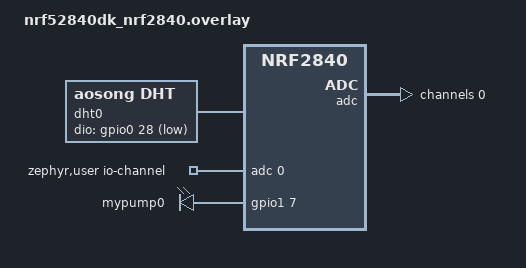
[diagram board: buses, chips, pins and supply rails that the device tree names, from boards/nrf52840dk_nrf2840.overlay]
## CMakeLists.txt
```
#
# Copyright (c) 2018 Nordic Semiconductor
#
# SPDX-License-Identifier: LicenseRef-Nordic-5-Clause
#
cmake_minimum_required(VERSION 3.20.0)

find_package(Zephyr REQUIRED HINTS $ENV{ZEPHYR_BASE})
project(NONE)

# NORDIC SDK APP START
target_sources(app PRIVATE
  src/main.c
  src/my_pws.c
  src/dht_sensor.c
  src/soil_sensor.c
  src/logging_sensor.c
  src/learning_mode.c
)

# NORDIC SDK APP END
zephyr_library_include_directories(.)
```

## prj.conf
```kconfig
#
# Copyright (c) 2018 Nordic Semiconductor
#
# SPDX-License-Identifier: LicenseRef-Nordic-5-Clause
#

# Logger module
CONFIG_LOG=y

# Button and LED library
CONFIG_DK_LIBRARY=y

# Bluetooth LE
CONFIG_BT=y

CONFIG_BT_PERIPHERAL=y
CONFIG_BT_DEVICE_NAME="MY_PWS22"

# Increase stack size for the main thread and System Workqueue
CONFIG_SYSTEM_WORKQUEUE_STACK_SIZE=2048
CONFIG_MAIN_STACK_SIZE=2048

# Temperature sensor
CONFIG_SENSOR=y

# ADC
CONFIG_ADC=y

# NVS settings for writing to flash

CONFIG_FLASH=y                   # Enables flash driver support
CONFIG_FLASH_PAGE_LAYOUT=y       # Lets NVS know flash geometry (page size, etc.)
CONFIG_MPU_ALLOW_FLASH_WRITE=y   # Allows flash writes when MPU is active (needed on nRF)
CONFIG_NVS=y                     # Enables the NVS subsystem
```

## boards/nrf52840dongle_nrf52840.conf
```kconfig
# USB stack and CDC ACM settings
CONFIG_USB_DEVICE_STACK=y
CONFIG_USB_DEVICE_REMOTE_WAKEUP=n
CONFIG_USB_CDC_ACM=y
CONFIG_USB_DEVICE_MANUFACTURER="Nordic Semiconductor ASA"
CONFIG_USB_DEVICE_PRODUCT="nRF52840 Dongle"
CONFIG_USB_DEVICE_VID=0x1915
CONFIG_USB_DEVICE_PID=0x0001
CONFIG_USB_DEVICE_INITIALIZE_AT_BOOT=y
CONFIG_USB_DEVICE_LOG_LEVEL_OFF=y
CONFIG_USB_CDC_ACM_LOG_LEVEL_OFF=y
CONFIG_USB_CDC_ACM_RINGBUF_SIZE=2048

# Console settings
CONFIG_CONSOLE=y
CONFIG_SERIAL=y
CONFIG_UART_CONSOLE=y
CONFIG_UART_INTERRUPT_DRIVEN=y

# Logger settings
CONFIG_LOG=y
CONFIG_LOG_BACKEND_UART=y
CONFIG_LOG_MODE_DEFERRED=y

CONFIG_PARTITION_MANAGER_ENABLED=n


CONFIG_BT_DEVICE_NAME="MY_PWS22"
# increase nvs_storage to grow below the bootloader start
# otherwise the nvs will overlap with the bootloader
CONFIG_PM_PARTITION_SIZE_NVS_STORAGE=0x25000
```

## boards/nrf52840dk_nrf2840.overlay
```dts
/ {
    dht0: dht_0 {
        status = "okay";
        compatible = "aosong,dht";
        dio-gpios = <&gpio0 28 GPIO_ACTIVE_LOW>;
        dht22;
    };

    zephyr,user {
        io-channels = <&adc 0>;
    };

    aliases {
        pump0 = &mypump0;
    };

    pumps {
        compatible = "gpio-leds";
        mypump0: pump_0 {
            gpios = <&gpio1 7 GPIO_ACTIVE_HIGH>;
        };
    };

};

&adc {
    #address-cells = <1>;
    #size-cells = <0>;
    status = "okay";
    channel@0 {
        reg = <0>;
        zephyr,gain = "ADC_GAIN_1_5";
        zephyr,reference = "ADC_REF_INTERNAL";
        zephyr,acquisition-time = <ADC_ACQ_TIME_DEFAULT>;
        zephyr,input-positive = <NRF_SAADC_AIN0>; /* P0.02 for nRF52xx, P0.04 for nRF5340 */
        zephyr,resolution = <12>;
    };
};
```

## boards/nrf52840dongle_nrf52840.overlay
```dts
/*
 * Copyright (c) 2021 Nordic Semiconductor ASA
 *
 * SPDX-License-Identifier: LicenseRef-Nordic-5-Clause
 */
// TODO change pins to pins used by the dongle
/ {
	chosen {
		zephyr,console = &cdc_acm_uart0;
	};

	dht0: dht_0 {
        status = "okay";
        compatible = "aosong,dht";
        dio-gpios = <&gpio0 28 GPIO_ACTIVE_LOW>;
        dht22;
    };

    zephyr,user {
        io-channels = <&adc 0>;
    };

    aliases {
        pump0 = &mypump0;
    };

    pumps {
        compatible = "gpio-leds";
        mypump0: pump_0 {
            gpios = <&gpio0 22 GPIO_ACTIVE_HIGH>;
        };
    };
};

&zephyr_udc0 {
	cdc_acm_uart0: cdc_acm_uart0 {
		compatible = "zephyr,cdc-acm-uart";
	};
};


&adc {
    #address-cells = <1>;
    #size-cells = <0>;
    status = "okay";
    channel@0 {
        reg = <0>;
        zephyr,gain = "ADC_GAIN_1_5";
        zephyr,reference = "ADC_REF_INTERNAL";
        zephyr,acquisition-time = <ADC_ACQ_TIME_DEFAULT>;
        zephyr,input-positive = <NRF_SAADC_AIN0>; /* P0.02 for nRF52xx, P0.04 for nRF5340 */
        zephyr,resolution = <12>;
    };
};

&uart0 {
	compatible = "nordic,nrf-uarte";
	status = "disabled";
	current-speed = <115200>;
	pinctrl-0 = <&uart0_default>;
	pinctrl-1 = <&uart0_sleep>;
	pinctrl-names = "default", "sleep";
};
```

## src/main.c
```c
/*
 * Copyright (c) 2023 Nordic Semiconductor ASA
 *
 * SPDX-License-Identifier: LicenseRef-Nordic-5-Clause
 */

#include <zephyr/kernel.h>
#include <zephyr/logging/log.h>
#include <zephyr/bluetooth/bluetooth.h>
#include <zephyr/bluetooth/gap.h>
#include <zephyr/bluetooth/uuid.h>
#include <zephyr/bluetooth/conn.h>

#include <zephyr/drivers/adc.h>

#include <dk_buttons_and_leds.h>
#include <zephyr/drivers/gpio.h>

// write to flash
#include <zephyr/drivers/flash.h>
#include <zephyr/storage/flash_map.h>
#include <zephyr/fs/nvs.h>

#include "my_pws.h"
#include "dht_sensor.h"
#include "sensor_config.h"
#include "soil_sensor.h"
#include "logging_sensor.h"

static const struct bt_le_adv_param *adv_param = BT_LE_ADV_PARAM(
    (BT_LE_ADV_OPT_CONN |
     BT_LE_ADV_OPT_USE_IDENTITY), /* Connectable advertising and use identity address */
    800,                          /* Min Advertising Interval 500ms (800*0.625ms) */
    801,                          /* Max Advertising Interval 500.625ms (801*0.625ms) */
    NULL);                        /* Set to NULL for undirected advertising */

LOG_MODULE_REGISTER(Plant_sensor, LOG_LEVEL_INF);

#define DEVICE_NAME CONFIG_BT_DEVICE_NAME
#define DEVICE_NAME_LEN (sizeof(DEVICE_NAME) - 1)

#define RUN_STATUS_LED DK_LED1
#define CON_STATUS_LED DK_LED2

#define STACKSIZE 2048
#define PRIORITY 7

#define RUN_LED_BLINK_INTERVAL 1000
#define NOTIFY_INTERVAL 5 * 1000 // dont read too often, to avoid sensor from heating it self up
#define TURN_MOTOR_OFF_INTERVAL 500

// write to flash
static struct nvs_fs fs;

#define NVS_PARTITION storage_partition
#define NVS_PARTITION_DEVICE FIXED_PARTITION_DEVICE(NVS_PARTITION)
#define NVS_PARTITION_OFFSET FIXED_PARTITION_OFFSET(NVS_PARTITION)

#define RBT_CNT_ID 0
uint32_t reboot_counter = 0U;
uint8_t soil_moisture_calibrate_status = 0;
int dry_plant_threshold = 0;
int wet_plant_threshold = 0;
int ideal_plant_threshold = 0;

void init_nvs_counter(struct nvs_fs *fs, uint16_t id, int *data, size_t len, const char *data_name)
{
    int rc = 0;
    rc = nvs_read(fs, id, data, len);
    if (rc > 0)
    { /* item was found, show it */
        printk("Id: %d, %s: %d\n",
               id, data_name, *data);
    }
    else
    { /* item was not found, add it */
        printk("No %s found, adding it at id %d\n",
               data_name, id);
        (void)nvs_write(fs, id, data,
                        len);
    }
}

void init_nvs(CalibrationContext *ctx)
{
    int rc = 0;
    struct flash_pages_info info;

    /* define the nvs file system by settings with:
     *	sector_size equal to the pagesize,
     *	3 sectors
     *	starting at NVS_PARTITION_OFFSET
     */
    fs.flash_device = NVS_PARTITION_DEVICE;
    if (!device_is_ready(fs.flash_device))
    {
        printk("Flash device %s is not ready\n", fs.flash_device->name);
        return;
    }
    fs.offset = NVS_PARTITION_OFFSET;
    rc = flash_get_page_info_by_offs(fs.flash_device, fs.offset, &info);
    if (rc)
    {
        printk("Unable to get page info\n");
        return;
    }
    fs.sector_size = info.size;
    fs.sector_count = 3U;

    rc = nvs_mount(&fs);
    if (rc)
    {
        printk("Flash Init failed\n");
        return;
    }

    /* RBT_CNT_ID is used to store the reboot counter, lets see
     * if we can read it from flash
     */
    rc = nvs_read(&fs, RBT_CNT_ID, &reboot_counter, sizeof(reboot_counter));
    if (rc > 0)
    { /* item was found, show it */
        printk("Id: %d, Reboot_counter: %d\n",
               RBT_CNT_ID, reboot_counter);
    }
    else
    { /* item was not found, add it */
        printk("No Reboot counter found, adding it at id %d\n",
               RBT_CNT_ID);
        (void)nvs_write(&fs, RBT_CNT_ID, &reboot_counter,
                        sizeof(reboot_counter));
    }

    // initialize uninitialized values here..
    // soil_moisture_calibrate_status

    rc = nvs_read(&fs, SOIL_MOI_CAL_ID, &soil_moisture_calibrate_status, sizeof(soil_moisture_calibrate_status));
    if (rc > 0)
    { /* item was found, show it */
        printk("Id: %d, soil cal status: %d\n",
               SOIL_MOI_CAL_ID, soil_moisture_calibrate_status);
    }
    else
    { /* item was not found, add it */
        printk("No soil cal found, adding it at id %d\n",
               SOIL_MOI_CAL_ID);
        (void)nvs_write(&fs, SOIL_MOI_CAL_ID, &soil_moisture_calibrate_status,
                        sizeof(soil_moisture_calibrate_status));
    }

    // thresholds
    init_nvs_counter(&fs, DRY_PLANT_ID, &dry_plant_threshold,
                     sizeof(dry_plant_threshold), "dry plant threshold");
    printk("next one\n");
    init_nvs_counter(&fs, WET_PLANT_ID, &wet_plant_threshold,
                     sizeof(wet_plant_threshold), "wet plant threshold");
    init_nvs_counter(&fs, IDEAL_PLANT_ID, &ideal_plant_threshold,
                     sizeof(ideal_plant_threshold), "ideal plant threshold");

    printk("status of soil cal: %d\n", soil_moisture_calibrate_status);
    // update calibrationcontext
    if (soil_moisture_calibrate_status)
    {
        printk("soil moisture calibrated, turning settings on\n");
        // is already calibrated so this can be set to true immediatly
        ctx->soil_moisture_sensor_enabled = true;
        // start the logging as well
        init_timer();
    }
}

static uint64_t start_time; // Stores connection start timestamp
static uint16_t plant_env_readings[SENSOR_ARRAY_SIZE] = {0};
static bool print_once = true;
static CalibrationContext ctx = {
    .pump_finished = false,
    .pump_state = PUMP_OFF,
    .soil_moisture_ready_to_calibrate = false,
    .soil_moisture_sensor_enabled = false};

static const struct gpio_dt_spec pump = GPIO_DT_SPEC_GET(DT_ALIAS(pump0), gpios);

int smooth_soil_val = 0;
struct peripheral_cmd peripheral_cmds[NUM_OF_CMDS];

bool start_soil_sensor = false;

// static uint32_t app_data_logs[STORED_LOGS];

enum TIME_STAMP_STATUS current_time_stamp = TIME_STAMP_NOT_RECIEVED;

enum CALIBRATION_STATUSES
{
    DRY_FINISH = 1,
    IDEAL_FINISH,
    WAIT_TIME
};

static struct k_work adv_work;
static const struct bt_data ad[] = {
    BT_DATA_BYTES(BT_DATA_FLAGS, (BT_LE_AD_GENERAL | BT_LE_AD_NO_BREDR)),
    BT_DATA(BT_DATA_NAME_COMPLETE, DEVICE_NAME, DEVICE_NAME_LEN),

};

static const struct bt_data sd[] = {
    BT_DATA_BYTES(BT_DATA_UUID128_ALL, BT_UUID_PWS_VAL),
};

static void adv_work_handler(struct k_work *work)
{
    int err = bt_le_adv_start(adv_param, ad, ARRAY_SIZE(ad), sd, ARRAY_SIZE(sd));

    if (err)
    {
        printk("Advertising failed to start (err %d)\n", err);
        return;
    }

    printk("Advertising successfully started\n");
}
static void advertising_start(void)
{
    k_work_submit(&adv_work);
}
static void recycled_cb(void)
{
    printk("Connection object available from previous conn. Disconnect is complete!\n");
    advertising_start();
}

bool simulate_rain_drop_sensor()
{
    // should replace with real sensor at some point
    uint64_t elapsed_ms = k_uptime_get() - start_time;
    if (elapsed_ms >= 20000)
    {
        printk("raindrop detected\n");
        return true;
    }
    return false;
}

void gpio_pump_init(void)
{
    // static const struct gpio_dt_spec pump = GPIO_DT_SPEC_GET(DT_ALIAS(pump0), gpios);

    if (!gpio_is_ready_dt(&pump))
    {
        return;
    }

    gpio_pin_configure_dt(&pump, GPIO_OUTPUT);
    gpio_pin_set_dt(&pump, 0);
}

void init_peripheral_cmds()
{
    for (int i = 0; i < NUM_OF_CMDS; ++i)
    {
        peripheral_cmds[i].enabled = false;
        peripheral_cmds[i].id = (enum PERIPHERAL_CMD_IDS)i;
    }
}

static void app_sensor_command_cb(bool state, uint8_t id)
{
    peripheral_cmds[id].enabled = state;
}

static uint32_t *app_update_logs()
{
    // // unix format -> 2025/08/26 at 12:36:00
    // app_data_logs[0] = 1756211760;
    // // two random values packed in order of LSB
    // app_data_logs[1] = (55 << 16) | 25;
    // TODO: only send new data
    // also send the size of the new data
    return data_logs;
}

static void app_init_time_stamp(int64_t time_stamp)
{
    // set time from recieved time from app
    // should only do so on start up once
    if (current_time_stamp == TIME_STAMP_NOT_RECIEVED)
    {
        init_time_stamp = time_stamp;
        init_uptime = k_uptime_get();
        current_time_stamp = TIME_STAMP_RECIEVED;
        LOG_INF("recieved timestamp");
        int64_t recieved_time = get_unix_timestamp_ms();
        LOG_INF("time stamp = %lld", recieved_time);
    }
    else
    {
        LOG_INF("timestamp already recieved");
    }
}

static void app_erase_logs()
{
    while (1)
    {
        // TODO: move a pointer to the next aviailbe space instead
        // keep the logic of clearing the logs to 0 for debugging purposes?
        if (peripheral_cmds[CLEAR_LOG].enabled)
        {
            for (int i = 0; i < STORED_LOGS; ++i)
            {
                // app_data_logs[i] = 0;
                data_logs[i] = 0;

            }
            peripheral_cmds[CLEAR_LOG].enabled = false;
            // reset array to start
            // set new
            ptr_data_logs = data_logs;
        }
        k_sleep(K_MSEC(100));
    }
}

/* STEP 10 - Declare a varaible app_callbacks of type my_pws_cb and initiate its members to the applications call back functions we developed in steps 8.2 and 9.2. */
static struct my_pws_cb app_callbacks = {
    .sensor_command_cb = app_sensor_command_cb,
    .update_logs_cb = app_update_logs,
    .init_time_stamp_cb = app_init_time_stamp};

void send_data_thread(void *p1)
{
    CalibrationContext *ctx = (CalibrationContext *)p1;
    while (1)
    {
        // TODO: consider to turn TEMPERATURE_HUMIDITY off every time after it has send temp/humidity once
        // the app will resend command to turn on when you go onto the page next time..
        if (peripheral_cmds[TEMPERATURE_HUMIDITY].enabled)
        {
            /* Send notification, the function sends notifications only if a client is subscribed */
            struct air_metrics env_readings = read_temp_humidity();
            // send notification for temp/humidity
            plant_env_readings[0] = env_readings.temp;
            plant_env_readings[1] = env_readings.humidity;

            if (ctx->soil_moisture_sensor_enabled)
            {
                int stable_soil_reading = read_smooth_soil();
                if (stable_soil_reading)
                {
                    plant_env_readings[2] = mv_to_percentage(smooth_soil_val);
                }
            }
            else
            {
                plant_env_readings[2] = -1;
            }

            // maybe add a range where the value doesnt change? the mv measured varies even if water level is not changing
            // plant_env_readings[2] = ctx->soil_moisture_sensor_enabled ? mv_to_percentage(smooth_soil_val) : 0;
            if (ctx->soil_moisture_sensor_enabled)
            {
                LOG_INF("percentage: %d of soil moisture", mv_to_percentage(smooth_soil_val));
            }

            my_pws_send_temperature_notify(plant_env_readings);

            k_sleep(K_MSEC(NOTIFY_INTERVAL));
        }
        else
        {
            k_sleep(K_MSEC(100));
        }
    }
}

// debug test function to verify the pump (pin) works
void test_pump_setup()
{
    while (1)
    {
        static bool pump_test_started = false;
        if (peripheral_cmds[TEST_PUMP].enabled)
        {
            LOG_INF("Starting watering cycle test..");
            gpio_pin_set_dt(&pump, 1);
            start_time = k_uptime_get();
            peripheral_cmds[TEST_PUMP].enabled = false;
            pump_test_started = true;
        }
        else if (pump_test_started)
        {
            int64_t elapsed_ms = k_uptime_get() - start_time;
            // should only be on for 5 sec.
            if (elapsed_ms >= 5000)
            {
                gpio_pin_set_dt(&pump, 0);
                LOG_INF("stop watering test cycle..");
                pump_test_started = false;
            }
        }
        k_sleep(K_MSEC(100));
    }
}

// void start_pump()
// {
//     static bool set_start_time = false;
//     static int64_t start_time_pump;
//     while (1)
//     {
//         if (pump_on)
//         {
//             if (!set_start_time)
//             {
//                 gpio_pin_set_dt(&pump, 1);
//                 start_time_pump = k_uptime_get();
//                 set_start_time = true;
//             }
//             else
//             {
//                 int64_t elapsed_ms = k_uptime_get() - start_time_pump;
//                 // should only be on for 20 sec.
//                 if (elapsed_ms >= 20000)
//                 {
//                     gpio_pin_set_dt(&pump, 0);
//                     LOG_INF("stop watering..");
//                     pump_on = false;
//                     set_start_time = false;
//                 }
//             }
//         }
//         k_sleep(K_MSEC(100));
//     }
// }

void manage_pump(CalibrationContext *ctx)
{
    if (peripheral_cmds[PUMP].enabled)
    {
        LOG_INF("watering..");
        gpio_pin_set_dt(&pump, 1);
        start_time = k_uptime_get();
        ctx->pump_state = PUMP_ON;
        peripheral_cmds[PUMP].enabled = false;
    }
    else if (ctx->pump_state == PUMP_ON)
    {

        int64_t elapsed_ms = k_uptime_get() - start_time;
        // should only be on for 5 sec.
        if (elapsed_ms >= 5000)
        {
            gpio_pin_set_dt(&pump, 0);
            LOG_INF("stop watering..");
            ctx->pump_state = PUMP_OFF;
            ctx->pump_finished = true;
        }
    }
}

void do_calibration_step(CalibrationContext *ctx, struct nvs_fs *fs)
{
    switch (ctx->current_soil_state)
    {
    case DRY:
        calibrate_soil_sensor(ctx, fs);
        break;

    case START_PUMP:
        manage_pump(ctx);
        break;

    case WET:
        calibrate_soil_sensor(ctx, fs);
        break;

    case IDEAL:
        calibrate_soil_sensor(ctx, fs);
        break;
    }
}

void update_state(CalibrationContext *ctx)
{
    switch (ctx->current_soil_state)
    {
    case DRY:
        if (peripheral_cmds[SOIL_CAL].enabled && ctx->soil_moisture_ready_to_calibrate)
        {
            ctx->current_soil_state = START_PUMP;
            LOG_INF("moisture sensor calibrated in dry soil\n");
            my_pws_send_calibration_notify((int8_t)DRY_FINISH);
            LOG_INF("waiting for user to start pump..");
        }
        break;
    case START_PUMP:
        if (ctx->pump_finished)
        {
            ctx->current_soil_state = WET;
            ctx->soil_moisture_ready_to_calibrate = false;
            LOG_INF("pump finished. starting wet calibration.");
        }
        break;
    case WET:
        if (ctx->pump_finished && ctx->soil_moisture_ready_to_calibrate)
        {
            ctx->current_soil_state = IDEAL;
            LOG_INF("moisture sensor calibrated in wet soil\n");
            // moisture sensor should be calibrated
            ctx->pump_finished = false;
            // reset to make it possible to redo calibration
            ctx->soil_moisture_ready_to_calibrate = false;
        }
        break;
    case IDEAL:
        if (ctx->soil_moisture_ready_to_calibrate)
        {
            printk("ideal soil finish\n");
            // resetting
            ctx->current_soil_state = DRY;
            // TODO: set to true to enable reading from sensor at an interval?
            ctx->soil_moisture_ready_to_calibrate = false;
            peripheral_cmds[SOIL_CAL].enabled = false;
            printk("Calibration complete!\n");
            my_pws_send_calibration_notify((int8_t)IDEAL_FINISH);
            // ready to start the timer which logs
            init_timer();
            print_once = true;
            ctx->soil_moisture_sensor_enabled = true;
            // set to true and save in nvs
            soil_moisture_calibrate_status = 1;
            (void)nvs_write(
                &fs, SOIL_MOI_CAL_ID, &soil_moisture_calibrate_status,
                sizeof(soil_moisture_calibrate_status));
        }
        break;
    }
}

// this should be the thread running the main calibration
void main_calibrate_thread(void *p1, void *p2)
{
    CalibrationContext *ctx = (CalibrationContext *)p1;
    struct nvs_fs *fs = (struct nvs_fs *)p2;

    while (1)
    {
        if (peripheral_cmds[SOIL_CAL].enabled)
        {
            if (print_once)
            {
                LOG_INF("starting calibration");
                print_once = false;
                // reset to false, to avoid measuring of soil moisture while
                // calibration is ongoing
                ctx->soil_moisture_sensor_enabled = false;
            }
            do_calibration_step(ctx, fs);
            update_state(ctx);
        }
        k_sleep(K_MSEC(100));
    }
}

void timer_thread()
{
    while (1)
    {
        if (START_TIMER)
        {
            handle_timer();
            START_TIMER = false;
        }
        k_sleep(K_MSEC(100));
    }
}

void timer_logging_thread(CalibrationContext *ctx)
{
    while (1)
    {
        if (START_LOGGING)
        {
            struct plant_log_data current_log = get_sensor_data(ctx);
            LOG_INF("collected log");
            log_data(current_log);
            START_LOGGING = false;
            START_TIMER = true;
        }
        // if pump needs to be turned on, manage_pump will manage it
        manage_pump(ctx);
        k_sleep(K_MSEC(100));
    }
}

static void on_connected(struct bt_conn *conn, uint8_t err)
{
    if (err)
    {
        printk("Connection failed (err %u)\n", err);
        return;
    }

    printk("Connected\n");

    dk_set_led_on(CON_STATUS_LED);
}

static void on_disconnected(struct bt_conn *conn, uint8_t reason)
{
    printk("Disconnected (reason %u)\n", reason);

    dk_set_led_off(CON_STATUS_LED);
}

struct bt_conn_cb connection_callbacks = {
    .connected = on_connected,
    .disconnected = on_disconnected,
    .recycled = recycled_cb,
};

int main(void)
{
    int blink_status = 0;
    int err;

    LOG_INF("Starting Lesson 4 - Exercise 1 \n");
    init_peripheral_cmds();

    err = dk_leds_init();
    if (err)
    {
        LOG_ERR("LEDs init failed (err %d)\n", err);
        return -1;
    }

    err = bt_enable(NULL);
    if (err)
    {
        LOG_ERR("Bluetooth init failed (err %d)\n", err);
        return -1;
    }
    bt_conn_cb_register(&connection_callbacks);

    /* STEP 11 - Pass your application callback functions stored in app_callbacks to the MY PWS service */
    err = my_pws_init(&app_callbacks);
    if (err)
    {
        printk("Failed to init LBS (err:%d)\n", err);
        return -1;
    }
    LOG_INF("Bluetooth initialized\n");
    k_work_init(&adv_work, adv_work_handler);
    advertising_start();

    initialize_adc();
    gpio_pump_init();
    // counter write to flash
    init_nvs(&ctx);
    reboot_counter++;
    (void)nvs_write(
        &fs, RBT_CNT_ID, &reboot_counter,
        sizeof(reboot_counter));

    for (;;)
    {

        dk_set_led(RUN_STATUS_LED, (++blink_status) % 2);
        k_sleep(K_MSEC(RUN_LED_BLINK_INTERVAL));
    }
}


K_THREAD_DEFINE(send_data_thread_id, STACKSIZE, send_data_thread, &ctx, NULL,
                NULL, 8, 0, 0);

K_THREAD_DEFINE(send_data_thread_id1, STACKSIZE, main_calibrate_thread, &ctx, &fs,
                NULL, PRIORITY, 0, 0);

K_THREAD_DEFINE(send_data_thread_id2, STACKSIZE, test_pump_setup, NULL, NULL,
                NULL, 6, 0, 0);

K_THREAD_DEFINE(send_data_thread_id3, STACKSIZE, timer_thread, NULL, NULL,
                NULL, 6, 0, 0);

K_THREAD_DEFINE(send_data_thread_id4, STACKSIZE, app_erase_logs, NULL, NULL,
                NULL, PRIORITY, 0, 0);

K_THREAD_DEFINE(send_data_thread_id5, STACKSIZE, timer_logging_thread, &ctx, NULL,
                NULL, 6, 0, 0);
```

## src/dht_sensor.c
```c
#include <stdio.h>
#include <zephyr/kernel.h>
#include <zephyr/drivers/gpio.h>
#include <zephyr/device.h>
#include <zephyr/drivers/sensor.h>

#include "dht_sensor.h"


const struct device *dht = DEVICE_DT_GET(DT_NODELABEL(dht0));

struct air_metrics read_temp_humidity()
{
    struct sensor_value temp, humidity;
    sensor_sample_fetch(dht);
    sensor_channel_get(dht, SENSOR_CHAN_AMBIENT_TEMP, &temp);
    sensor_channel_get(dht, SENSOR_CHAN_HUMIDITY, &humidity);
    // combine int and decimal value
    uint16_t temp_encoded = (temp.val1 * 10) + (temp.val2 / 100000);
    uint16_t humidity_encoded = (humidity.val1 * 10) + (humidity.val2 / 100000);
    struct air_metrics ret = {.temp = temp_encoded, .humidity = humidity_encoded};

    return ret;
}
```

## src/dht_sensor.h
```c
#ifndef DHT_SENSOR
#define DHT_SENSOR

#include <stdio.h>

struct air_metrics
{
    uint16_t temp;
    uint16_t humidity;
};

struct air_metrics read_temp_humidity();


#endif /* DHT_SENSOR */
```

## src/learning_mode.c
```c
#include <zephyr/kernel.h>
#include "learning_mode.h"
#include "dht_sensor.h"
#include "soil_sensor.h"
// create a learning phase for each plant
// should eventually give individual watering recommendations and send suggestions to the app
// 1. collect data - moisture, timestamp, moisture before and after watering 
// 2. collect 7 days worth of data - learning profile
// 3. based on learning phase calculate drying speed how fast does moisture drop
// 4. adjust timer to check if plant should be watered based on predicted moisture
// 5. extra: maybe it should make a new learning provfile each month, so it can base new recommendations
//           even when seasons change
#define WAIT_TIME_MIN K_MINUTES(15)
#define LOG_PERIOD_MIN_DEFAULT 120
#define LOG_PERIOD_MIN_LEARN 60
#define DATA_COLLECTION_SIZE 24 * 7

int current_log_period;

// dynamic value, based on learnings..
int log_period_predict = 0;
// learning data collection
// save in nvs - dont want to start over if disconnected
learning_data weekly_data_collection[DATA_COLLECTION_SIZE] = {0};
// pointers for easy access to data
learning_data *weekly_ptr = weekly_data_collection;
learning_data *weekly_end_ptr = weekly_data_collection + DATA_COLLECTION_SIZE;

learning_mode mode;

enum time_of_day get_time_of_day(int hour_of_day)
{
    return ((hour_of_day - 6 + 24) % 24) / 6;
}


void phase_init()
{
    mode.phase = LEARN;
    mode.log_period = LOG_PERIOD_MIN_LEARN;
}

void log_period_init(learning_mode current_mode)
{
    current_log_period = current_mode.log_period;
}

uint32_t timestamp_ms_to_hour_of_day (uint32_t time_stamp)
{
    time_stamp = time_stamp / 1000;
    uint32_t seconds_in_day = time_stamp % 86400;
    return seconds_in_day / 3600;
}

int get_drying_speed(int moisture_previous, int moisture_current, int hours_passed)
{
    return (moisture_previous - moisture_current) / hours_passed;
}

learning_profile *get_learning_profile()
{
    learning_profile monthly_profile[4] = {0};
    int count[PERIOD_COUNTS] = {0};

    for (int i = 0; i<DATA_COLLECTION_SIZE; ++i)
    {
        enum time_of_day period = get_time_of_day(weekly_data_collection[i].hour_of_day);
        int drying_speed;
        if (i == 0)
        {
            drying_speed = 0;
        }
        else
        {
            drying_speed = get_drying_speed(weekly_data_collection[i-1].moisture_before, 
            weekly_data_collection[i].moisture_before, current_log_period);
        }
        
        monthly_profile[period].avg_drying_speed += drying_speed;
        monthly_profile[period].avg_temp += weekly_data_collection[i].temp;
        count[period] += 1;

    }

    for (int p = 0; p < PERIOD_COUNTS; ++p)
    {
        if (count[p] > 0)
        {
            monthly_profile[p].avg_drying_speed /= count[p];
            monthly_profile[p].avg_temp /= count[p];
        }
        
    }

    return monthly_profile;
}

int predict_next_watering(int desired_moisture_per, int avg_drying_speed, int current_moisture)
{
    int moisture_drop = current_moisture - desired_moisture_per;
    if (moisture_drop <= 0)
    {
        return 0;
    }
    return moisture_drop / avg_drying_speed;
}

int predict_next_time_slot_watering(int current_moisture, int desired_moisture, int current_hour, learning_profile *monthly_profile)
{
    enum time_of_day current_time_slot = get_time_of_day(current_hour);
    // if current moisture is already below desired moisture it should just water immedaitly...
    int needed_moisture_drop = current_moisture - desired_moisture;
    printf("needed moisture drop: %d\n", needed_moisture_drop);
    int moisture_drop = 0;
    int current_set_hour = current_hour;
    int duration;
    int count_hours = 0;
    duration = ((current_time_slot * 6 + 6) % 24) + 6 - current_set_hour ? ((current_time_slot * 6 + 6) % 24) + 6 - current_set_hour : 6;
    for (int p = current_time_slot; p < PERIOD_COUNTS; )
    {

        moisture_drop += (monthly_profile[p].avg_drying_speed * duration);
        
        // first loop not * 6 but 6-current hours
        if ((moisture_drop) >= needed_moisture_drop)
        {
            
            printf("current timeslot = %d\n", p);
            // moisture will drop within the current timeslot
            // return the hours till next drop here
            moisture_drop -= (monthly_profile[p].avg_drying_speed * duration);
            // printf("calculated moisture drop after last subtraction: %d\n", moisture_drop);
            // get the amount of hours in the current timeslot till desired moisture drop is reached
            // moisture_drop is already a certain percentage; moisture_drop = 20%, desired = 30%,
            // then in the current timeslot we need to figure out how many hours till the moisture reached 10%
            int drop = needed_moisture_drop - moisture_drop;
            int hours_till_drop = drop / monthly_profile[p].avg_drying_speed;
            // hours_till_drop is the hours in the current zone. needs to get the total amount of hours.
            count_hours += hours_till_drop;
            printf("next watering will happen in %d hours.\n", count_hours);
            return hours_till_drop;

        }
        count_hours += duration;
        p = ((p+1) % 4);
        duration = 6;

    }

}



void learning_time()
{
    if (weekly_ptr < weekly_end_ptr)
    {
        weekly_ptr->time_stamp = (uint32_t)(get_unix_timestamp_ms() / 1000);
        weekly_ptr->hour_of_day = timestamp_ms_to_hour_of_day(weekly_ptr->time_stamp);
        struct air_metrics env_readings = read_temp_humidity();
        weekly_ptr->temp = env_readings.temp;
        int stable_reading;

        int i;
        for (i = 0; i < 100; i++)
        {
            stable_reading = read_smooth_soil();
            if (stable_reading)
            {
                stable_reading = 0;
                break;
            }
        }
        weekly_ptr->moisture_before = mv_to_percentage(smooth_soil_val);
        k_sleep(WAIT_TIME_MIN);
        for (i = 0; i < 100; i++)
        {
            stable_reading = read_smooth_soil();
            if (stable_reading)
            {
                break;
            }
        }
        weekly_ptr->moisture_after = mv_to_percentage(smooth_soil_val);
        weekly_ptr++;

    }
    else
    {
        // learning time is now over, time to apply learnings
        mode.phase = APPLY;
        
    }
}
```

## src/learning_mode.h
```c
#ifndef LEARNING_MODE
#define LEARNING_MODE

#include <zephyr/kernel.h>

typedef struct
{
    int moisture_before; // before watering
    int moisture_after;  // after watering - measure 15 min. after
    uint32_t time_stamp;
    int hour_of_day; // maybe not needed?
    // int day_of_week; // maybe not needed?
    uint16_t temp;
} learning_data;

enum time_of_day
{
    MORNING,   // 06:00 - 12:00
    AFTERNOON, // 12:00 - 18:00
    EVENING,   // 18:00 - 00:00
    NIGHT,     // 00:00 - 06:00
    PERIOD_COUNTS
};

typedef struct
{
    int avg_drying_speed;
    enum time_of_day time_period;
    uint16_t avg_temp;

} learning_profile;

enum learning_phases
{
    LEARN,
    APPLY
};

typedef struct
{
    enum learning_phases phase;
    int log_period;
} learning_mode;

void phase_init();
void log_period_init(learning_mode current_mode);
uint32_t timestamp_ms_to_hour_of_day(uint32_t time_stamp);
int get_drying_speed(int moisture_previous, int moisture_current, int hours_passed);
learning_profile *get_learning_profile();
int predict_next_watering(int desired_moisture_per, int avg_drying_speed, int current_moisture);
void learning_time();
enum time_of_day get_time_of_day(int hour_of_day);
int predict_next_time_slot_watering(int current_moisture, int desired_moisture, int current_hour,
                                    learning_profile *monthly_profile);

#endif /* LEARNING_MODE */
```

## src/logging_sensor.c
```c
#include <zephyr/kernel.h>
#include <zephyr/drivers/adc.h>
#include <zephyr/logging/log.h>

#include "sensor_config.h"
#include "logging_sensor.h"
#include "soil_sensor.h"

LOG_MODULE_DECLARE(Plant_sensor);

#define LOG_PERIOD_MIN 120    // log every 2 hours
#define TEST_LOG_PERIOD_MIN 1 // test logging every 1 min

int64_t init_time_stamp = 0;
int64_t init_uptime = 0;
bool pump_on = false;
bool test_pump = true;
uint32_t data_logs[STORED_LOGS] = {0};
uint32_t *ptr_data_logs = data_logs;
static uint32_t *ptr_end_data_logs = data_logs + STORED_LOGS;
int current_log_size = 0;
bool START_LOGGING = false;
// timer
bool START_TIMER = false;
// send 1. date, 2. water_used, 3. temperature, 4. soil moisture (own level system?)
// evaluate if pump should turn on based on this info.

// for now water_used will have to be estimated, as i dont have a flow sensor yet.
// also dont have a sensor to sense water at bottom of pot yet, so will only turn pump on for a set amount of time.

struct plant_log_data get_sensor_data(CalibrationContext *ctx)
{

    // get temp and humidity
    struct air_metrics env_readings = read_temp_humidity();
    // get up to date soil val
    int stable_reading;

    int i;
    for (i = 0; i < 100; i++)
    {
        stable_reading = read_smooth_soil();
        if (stable_reading)
        {
            break;
        }
    }
    LOG_INF("Stable reading achieved at loop %d", i);

    int moisture_level = mv_to_percentage(smooth_soil_val);
    int water_used = 0;
    // TODO: it takes a while for the sensor to register the moisture
    // but this should not be a problem with a logging every 2 hours..
    // but the data readings might not have been stabilized yet.. smooth_soil_val is just the latest reading.
    if (moisture_level < 30) // if below 30%
    {
        LOG_INF("turn pump on");
        peripheral_cmds[PUMP].enabled = true;
        water_used = 10; // 10 ml
        // TODO: might be interesting to send this info to the app so I know at what time it went below 30
    }
    // TODO: unix time is converted into seconds here. need to consider if it might be better to send as ms?
    return (struct plant_log_data){.time_stamp = (uint32_t)(get_unix_timestamp_ms() / 1000),
                                   .env_readings = env_readings,
                                   .soil_moisture_level = moisture_level,
                                   .water_used = water_used};
}

void log_data(struct plant_log_data log)
{
    // log data
    if (ptr_data_logs < ptr_end_data_logs)
    {

        *ptr_data_logs = log.time_stamp;
        ptr_data_logs++;
        *ptr_data_logs = (log.env_readings.temp << 16) | log.water_used;
        ptr_data_logs++;
    }
}

int64_t get_unix_timestamp_ms()
{

    int64_t current_uptime = k_uptime_get() - init_uptime;
    return init_time_stamp + current_uptime;
}

void my_timer_handler(struct k_timer *dummy)
{
    // stop the timer thread
    START_TIMER = false;
    // start the logging thread
    START_LOGGING = true;
}

K_TIMER_DEFINE(my_timer, my_timer_handler, NULL);
void init_timer()
{
    LOG_INF("Starting first log");
    k_timer_start(&my_timer, K_MINUTES(LOG_PERIOD_MIN), K_MINUTES(0));
    START_TIMER = false;
}

void handle_timer()
{
    LOG_INF("Restarting timer.");
    k_timer_start(&my_timer, K_MINUTES(LOG_PERIOD_MIN), K_MINUTES(0));
}
```

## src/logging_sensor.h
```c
#ifndef LOGGING_SENSOR
#define LOGGING_SENSOR

#include "dht_sensor.h"

extern int64_t init_time_stamp;
extern int64_t init_uptime;
extern bool pump_on;
#define STORED_LOGS 672 // 12 logs per day * 4 * 7 = 1 month, now to hold date + (temp + water) = 2
// so 2 * 12 * 4 * 7
extern uint32_t *ptr_data_logs;
extern int current_log_size;

struct plant_log_data
{
    uint32_t time_stamp;
    int water_used;
    struct air_metrics env_readings;
    int soil_moisture_level;
};

extern uint32_t data_logs[STORED_LOGS];

int64_t get_unix_timestamp_ms();
void init_timer();
void handle_timer();
struct plant_log_data get_sensor_data(CalibrationContext *ctx);
void log_data(struct plant_log_data log);
#endif /* LOGGING_SENSOR */
```

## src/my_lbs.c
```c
/*
 * Copyright (c) 2018 Nordic Semiconductor ASA
 *
 * SPDX-License-Identifier: LicenseRef-Nordic-5-Clause
 */

/** @file
 *  @brief LED Button Service (LBS) sample
 */

#include <zephyr/types.h>
#include <stddef.h>
#include <string.h>
#include <errno.h>
#include <zephyr/sys/printk.h>
#include <zephyr/sys/byteorder.h>
#include <zephyr/kernel.h>

#include <zephyr/bluetooth/bluetooth.h>
#include <zephyr/bluetooth/hci.h>
#include <zephyr/bluetooth/conn.h>
#include <zephyr/bluetooth/uuid.h>
#include <zephyr/bluetooth/gatt.h>

#include "my_pws.h"

#include <zephyr/logging/log.h>

LOG_MODULE_DECLARE(Lesson4_Exercise1);

static bool button_state;
static struct my_pws_cb pws_cb;


/* STEP 5 - Implement the read callback function of the Button characteristic */
static ssize_t read_temperature(struct bt_conn *conn, const struct bt_gatt_attr *attr, void *buf,
			   uint16_t len, uint16_t offset)
{
	// get a pointer to button_state which is passed in the BT_GATT_CHARACTERISTIC() and stored in attr->user_data
	const char *value = attr->user_data;

	LOG_DBG("Attribute read, handle: %u, conn: %p", attr->handle, (void *)conn);

	if (pws_cb.temperature_cb) {
		// Call the application callback function to update the get the current value of the button
		button_state = pws_cb.button_cb();
		return bt_gatt_attr_read(conn, attr, buf, len, offset, value, sizeof(*value));
	}

	return 0;
}

/* LED Button Service Declaration */
/* STEP 2 - Create and add the MY PWS service to the Bluetooth LE stack */
BT_GATT_SERVICE_DEFINE(my_pws_svc, BT_GATT_PRIMARY_SERVICE(BT_UUID_PWS),
		       /* STEP 3 - Create and add the Temperature characteristic */
		       BT_GATT_CHARACTERISTIC(BT_UUID_PWS_TEMPERATURE, BT_GATT_CHRC_READ,
					      BT_GATT_PERM_READ, read_temperature, NULL, &temperature_state),
		       /* STEP 4 - Create and add the Pump characteristic. */
		       BT_GATT_CHARACTERISTIC(BT_UUID_PWS_PUMP, BT_GATT_CHRC_READ,
					      BT_GATT_PERM_READ, NULL, read_pump, &pump_state),

);
/* A function to register application callbacks for the LED and Button characteristics  */
int my_lbs_init(struct my_lbs_cb *callbacks)
{
	if (callbacks) {
		lbs_cb.led_cb = callbacks->led_cb;
		lbs_cb.button_cb = callbacks->button_cb;
	}

	return 0;
}
```

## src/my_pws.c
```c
/** @file
 *  @brief Plant Weather Service (PWS)
 */

#include <zephyr/types.h>
#include <stddef.h>
#include <string.h>
#include <errno.h>
#include <zephyr/sys/printk.h>
#include <zephyr/sys/byteorder.h>
#include <zephyr/kernel.h>

#include <zephyr/bluetooth/bluetooth.h>
#include <zephyr/bluetooth/hci.h>
#include <zephyr/bluetooth/conn.h>
#include <zephyr/bluetooth/uuid.h>
#include <zephyr/bluetooth/gatt.h>

#include "my_pws.h"
#include "sensor_config.h"
#include "logging_sensor.h"

#include <zephyr/logging/log.h>

LOG_MODULE_DECLARE(Lesson4_Exercise1);
// LOG_MODULE_DECLARE(Plant_sensor);

#define PUMP_ON_ARRAY_SIZE 5
// static bool notify_mysensor_enabled;
static bool notify_temperature_enabled;
static bool notify_calibration_enabled;

static uint32_t pumping_on_arr[PUMP_ON_ARRAY_SIZE];
static struct my_pws_cb pws_cb;
static uint32_t pws_data_logs[STORED_LOGS];

// TODO: i need to have a write handler for my timestamp value coming from the app on start up

static void mylbsbc_ccc_mysensor_cfg_changed(const struct bt_gatt_attr *attr,
											 uint16_t value)
{
	notify_temperature_enabled = (value == BT_GATT_CCC_NOTIFY); // and gives humidity..and also currently sending the soil moisture smooth data..
}

static void mylbsbc_ccc_calibration_cfg_changed(const struct bt_gatt_attr *attr,
											 uint16_t value)
{
	notify_calibration_enabled = (value == BT_GATT_CCC_NOTIFY);
}

// TODO: remove, but also update the attrs numbering otherwise will not work anymore
static ssize_t read_pump(struct bt_conn *conn, const struct bt_gatt_attr *attr, void *buf,
						 uint16_t len, uint16_t offset)
{
	// get a pointer to pump_state which is passed in the BT_GATT_CHARACTERISTIC() and stored in attr->user_data
	const uint32_t *value = (const uint32_t *)attr->user_data;

	LOG_DBG("Attribute read, handle: %u, conn: %p", attr->handle, (void *)conn);

	if (pws_cb.pump_cb)
	{
		// Call the application callback function to update the get the current value of the pump
		const uint32_t *pump_values = pws_cb.pump_cb();
		// Copy values if needed:
		memcpy(pumping_on_arr, pump_values, sizeof(pumping_on_arr));
		return bt_gatt_attr_read(conn, attr, buf, len, offset, value, sizeof(pumping_on_arr));
	}

	return 0;
}

static ssize_t read_log(struct bt_conn *conn, const struct bt_gatt_attr *attr, void *buf,
						 uint16_t len, uint16_t offset)
{
	// get a pointer to pump_state which is passed in the BT_GATT_CHARACTERISTIC() and stored in attr->user_data
	const uint32_t *value = (const uint32_t *)attr->user_data;

	LOG_DBG("Attribute read, handle: %u, conn: %p", attr->handle, (void *)conn);

	if (pws_cb.update_logs_cb)
	{
		// Call the application callback function to update the get the current value of the pump
		const uint32_t *log_values = pws_cb.update_logs_cb();
		memcpy(pws_data_logs, log_values, sizeof(pws_data_logs));
		// TODO: set size of to only be the new data i want to send and the log_values should 
		// naturally be the start of the array where the new values are defined
		return bt_gatt_attr_read(conn, attr, buf, len, offset, value, sizeof(pws_data_logs));
	}

	return 0;
}


static ssize_t write_command(struct bt_conn *conn,
							 const struct bt_gatt_attr *attr,
							 const void *buf,
							 uint16_t len, uint16_t offset, uint8_t flags)
{
	if (len != 1U)
	{
		LOG_DBG("Write command: Incorrect data length");
		return BT_GATT_ERR(BT_ATT_ERR_INVALID_ATTRIBUTE_LEN);
	}

	if (offset != 0)
	{
		LOG_DBG("Write command: Incorrect data offset");
		return BT_GATT_ERR(BT_ATT_ERR_INVALID_OFFSET);
	}

	if (pws_cb.sensor_command_cb)
	{
		// Read the received value
		uint8_t val = *((uint8_t *)buf);

		uint8_t on_off = (val >> 7) & 1; // on -> 1, off -> 0
		uint8_t id = val & 0x7F;		 // last 7 bits

		if (id < NUM_OF_CMDS && (on_off == 0x00 || on_off == 0x01))
		{
			// Call the application callback function to update the command state
			pws_cb.sensor_command_cb((bool)on_off, id);
		}
		else
		{
			LOG_DBG("Write command: Incorrect value");
			return BT_GATT_ERR(BT_ATT_ERR_VALUE_NOT_ALLOWED);
		}

		return len;
	}
	return 0;
}

static ssize_t write_timestamp(struct bt_conn *conn,
							 const struct bt_gatt_attr *attr,
							 const void *buf,
							 uint16_t len, uint16_t offset, uint8_t flags)
{
	// if (len != 1U)
	// {
	// 	LOG_DBG("Write command: Incorrect data length");
	// 	return BT_GATT_ERR(BT_ATT_ERR_INVALID_ATTRIBUTE_LEN);
	// }

	if (offset != 0)
	{
		LOG_DBG("Write command: Incorrect data offset");
		return BT_GATT_ERR(BT_ATT_ERR_INVALID_OFFSET);
	}

	if (pws_cb.init_time_stamp_cb)
	{
		// Read the received value
		// int64_t val = *((int64_t *)buf);
		int64_t val = (int64_t)sys_get_le64(buf);
		// update initial time stamp
		pws_cb.init_time_stamp_cb(val);

		return len;
	}

	return 0;
}

/* Plant Weather Service Declaration */
/* STEP 2 - Create and add the MY PWS service to the Bluetooth LE stack */
BT_GATT_SERVICE_DEFINE(my_pws_svc, BT_GATT_PRIMARY_SERVICE(BT_UUID_PWS),

					   /* STEP 4 - Create and add the Pump characteristic. */
					   BT_GATT_CHARACTERISTIC(BT_UUID_PWS_PUMP, BT_GATT_CHRC_READ,
											  BT_GATT_PERM_READ, read_pump, NULL, pumping_on_arr),
					   // temperature characteristic (also contains the humidity) TODO: consider renaming
					   BT_GATT_CHARACTERISTIC(BT_UUID_PWS_TEMPERATURE,
											  BT_GATT_CHRC_NOTIFY,
											  BT_GATT_PERM_NONE, NULL, NULL,
											  NULL),

					   BT_GATT_CCC(mylbsbc_ccc_mysensor_cfg_changed,
								   BT_GATT_PERM_READ | BT_GATT_PERM_WRITE),

					   BT_GATT_CHARACTERISTIC(BT_UUID_PWS_SENSOR_COMMAND,
											  BT_GATT_CHRC_WRITE, BT_GATT_PERM_WRITE, NULL, write_command, NULL),
					   // notify
					   BT_GATT_CHARACTERISTIC(BT_UUID_PWS_CALIBRATION,
											  BT_GATT_CHRC_NOTIFY,
											  BT_GATT_PERM_NONE,
											  NULL, NULL, NULL),

					   BT_GATT_CCC(mylbsbc_ccc_calibration_cfg_changed,
								   BT_GATT_PERM_READ | BT_GATT_PERM_WRITE),

						// 
						BT_GATT_CHARACTERISTIC(BT_UUID_PWS_LOG, BT_GATT_CHRC_READ,
											  BT_GATT_PERM_READ, read_log, NULL, pws_data_logs),
						// time stamp write handler
						BT_GATT_CHARACTERISTIC(BT_UUID_PWS_TIMESTAMP,
											  BT_GATT_CHRC_WRITE, BT_GATT_PERM_WRITE, NULL, write_timestamp, NULL)

);
/* A function to register application callbacks for the Pump and Temperature characteristics  */
int my_pws_init(struct my_pws_cb *callbacks)
{
	if (callbacks)
	{
		pws_cb.pump_cb = callbacks->pump_cb;
		pws_cb.sensor_command_cb = callbacks->sensor_command_cb;
		pws_cb.update_logs_cb = callbacks->update_logs_cb;
		pws_cb.init_time_stamp_cb = callbacks->init_time_stamp_cb;
	}

	return 0;
}

int my_pws_send_temperature_notify(uint16_t *sensor_value)
{
	if (!notify_temperature_enabled)
	{
		return -EACCES;
	}

	return bt_gatt_notify(NULL, &my_pws_svc.attrs[4],
						  sensor_value,
						  SENSOR_ARRAY_SIZE * sizeof(uint16_t));
}

int my_pws_send_calibration_notify(int8_t calib_value)
{
	if (!notify_calibration_enabled)
	{
		return -EACCES;
	}

	return bt_gatt_notify(NULL, &my_pws_svc.attrs[8],
						  &calib_value,
						  sizeof(calib_value));
}
```

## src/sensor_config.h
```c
#ifndef SENSOR_CONFIG_H
#define SENSOR_CONFIG_H

#define SENSOR_ARRAY_SIZE 3

// nvs
#define SOIL_MOI_CAL_ID 1
extern bool START_TIMER;
extern bool START_LOGGING;
// timer thread data
// extern struct k_sem data_ready_sem;
// extern struct k_sem start_logging_sem;

// extern bool timer_going_off;
// extern int timer_read_soil;
// extern bool soil_moisture_calibrate_status;
// // thresholds
#define DRY_PLANT_ID 2
#define WET_PLANT_ID 3
#define IDEAL_PLANT_ID 4
extern int dry_plant_threshold;
extern int wet_plant_threshold;
extern int ideal_plant_threshold;

enum PERIPHERAL_CMD_IDS
{
    TEMPERATURE_HUMIDITY,
    LIGHT,
    SOIL,
    PUMP,
    SOIL_CAL,
    CLEAR_LOG,
    TEST_PUMP,
    NUM_OF_CMDS // used to define total amount of commands
};

struct peripheral_cmd
{
    bool enabled;
    enum PERIPHERAL_CMD_IDS id;
};

extern struct peripheral_cmd peripheral_cmds[NUM_OF_CMDS];

enum SOIL_SENSOR_STATE
{
    DRY,
    START_PUMP,
    WET,
    IDEAL,
};

enum PUMP_STATE
{
    PUMP_OFF,
    PUMP_ON,
};

typedef struct
{
    enum PUMP_STATE pump_state;
    enum SOIL_SENSOR_STATE current_soil_state;
    bool soil_moisture_ready_to_calibrate; // to tell whenever each soil_sensor_state has been completed.
    bool soil_moisture_sensor_enabled; // once soil moisture has been calibrated, it is now ready to submit readings.
    bool pump_finished;
    bool soil_moisture_calibrated_once; // first time calibration done, add here??
} CalibrationContext;

void init_peripheral_cmds();

enum TIME_STAMP_STATUS
{
    TIME_STAMP_NOT_RECIEVED,
    TIME_STAMP_RECIEVED
};

#endif // SENSOR_CONFIG_H
```

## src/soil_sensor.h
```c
#ifndef SOIL_SENSOR
#define SOIL_SENSOR

#include "sensor_config.h"

#include <zephyr/drivers/flash.h>
#include <zephyr/storage/flash_map.h>
#include <zephyr/fs/nvs.h>

extern int moisture_val_mv;
extern int smooth_soil_val;




void initialize_adc();
void read_soil_moisture_mv();
void calibrate_soil_sensor(CalibrationContext *ctx, struct nvs_fs *fs);
int mv_to_percentage(int value);
int smooth_data();
int read_smooth_soil();
int check_stability(int current_val);

#endif // SOIL_SENSOR
```
